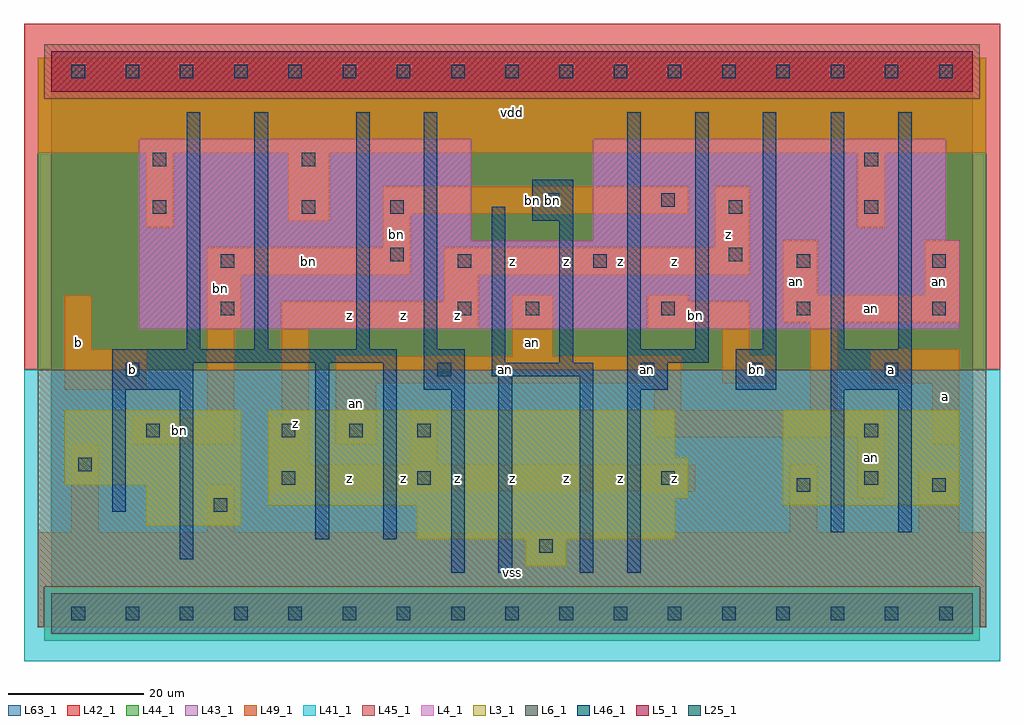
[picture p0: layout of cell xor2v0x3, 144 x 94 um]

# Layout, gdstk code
import gdstk
lib = gdstk.Library(unit=1e-6, precision=1e-09)
def R(c, l, rs):  # rectangles x0, y0, x1, y1
    for r in rs: c.add(gdstk.rectangle(r[:2], r[2:], *l))
def A(c, l, x, y, w, h, nx, ny, dx, dy):  # array of equal rectangles
    R(c, l, [(x+i*dx, y+j*dy, x+i*dx+w, y+j*dy+h) for i in range(nx) for j in range(ny)])
L3_1 = (3, 1)
L4_1 = (4, 1)
L5_1 = (5, 1)
L6_1 = (6, 1)
L25_1 = (25, 1)
L41_1 = (41, 1)
L42_1 = (42, 1)
L43_1 = (43, 1)
L44_1 = (44, 1)
L45_1 = (45, 1)
L46_1 = (46, 1)
L49_1 = (49, 1)
L63_1 = (63, 1)

xor2v0x3 = lib.new_cell('xor2v0x3')
R(xor2v0x3, L3_1, [(70,7,76,11), (54,11,92,16), (14,13,28,19), (32,16,92,17), (108,16,134,30), (32,17,94,23), (2,19,28,30), (32,23,92,30)])
R(xor2v0x3, L4_1, [(13,42,134,55), (13,55,62,70), (80,55,132,70)])
R(xor2v0x3, L5_1, [(0,77,136,83)])
R(xor2v0x3, L6_1, [(0,-3,136,3), (0,-3,136,3)])
A(xor2v0x3, L25_1, 3, -1, 2, 2, 17, 2, 8, 80)
A(xor2v0x3, L25_1, 34, 26, 2, 2, 3, 1, 10, 0)
A(xor2v0x3, L25_1, 70, 44, 2, 2, 4, 1, 20, 0)
R(xor2v0x3, L25_1, [(72,9,74,11), (24,15,26,17), (110,18,112,20), (130,18,132,20), (34,19,36,21), (54,19,56,21), (90,19,92,21), (120,19,122,21), (4,21,6,23), (14,26,16,28), (120,26,122,28), (11,35,13,37), (57,35,59,37), (87,35,89,37), (103,35,105,37), (123,35,125,37), (25,44,27,46), (60,44,62,46), (25,51,27,53), (60,51,62,53), (80,51,82,53), (110,51,112,53), (130,51,132,53), (50,52,52,54), (100,52,102,54), (15,59,17,61), (37,59,39,61), (50,59,52,61), (100,59,102,61), (120,59,122,61), (73,60,75,62), (90,60,92,62), (15,66,17,68), (37,66,39,68), (120,66,122,68)])
R(xor2v0x3, L41_1, [(-4,-7,140,36)])
R(xor2v0x3, L42_1, [(-4,36,140,87)])
R(xor2v0x3, L43_1, [(0,-3,136,3), (70,7,76,11), (54,11,92,16), (14,13,28,19), (32,16,92,17), (108,16,134,30), (32,17,94,23), (2,19,28,30), (32,23,92,30), (13,42,134,55), (13,55,62,70), (80,55,132,70), (0,77,136,83)])
R(xor2v0x3, L44_1, [(-1,-4,137,4), (-2,36,138,76), (-2,76,-1,82), (137,76,138,82)])
R(xor2v0x3, L45_1, [(-2,-2,-1,4), (137,-2,138,4), (-2,4,138,36), (-1,76,137,84)])
A(xor2v0x3, L46_1, 85, 39, 2, 35, 5, 1, 10, 0)
R(xor2v0x3, L46_1, [(59,6,61,33), (66,6,68,35), (78,6,80,35), (85,6,87,33), (19,8,21,33), (39,11,41,37), (49,11,51,37), (115,12,117,33), (125,12,127,33), (9,15,11,33), (9,33,21,37), (55,33,61,39), (85,33,91,37), (101,33,107,39), (115,33,127,39), (65,35,80,37), (9,37,51,39), (65,37,67,60), (75,37,77,58), (85,37,97,39), (20,39,22,74), (30,39,32,74), (45,39,47,74), (55,39,57,74), (71,58,77,64)])
R(xor2v0x3, L49_1, [(-2,-2,138,12), (3,12,7,25), (23,12,27,19), (109,12,113,22), (128,12,134,21), (119,17,123,26), (32,18,95,22), (32,22,38,29), (53,22,57,30), (12,25,27,29), (42,25,48,34), (130,25,134,34), (89,26,123,30), (23,29,27,42), (34,29,38,42), (89,30,93,34), (112,30,116,43), (2,33,14,39), (42,34,93,38), (99,34,107,38), (121,34,134,39), (68,38,74,47), (99,38,103,42), (2,39,6,47), (23,42,28,50), (34,42,63,46), (88,42,103,46), (108,43,134,47), (58,46,63,50), (88,46,94,47), (108,47,113,55), (129,47,134,55), (23,50,53,54), (58,50,103,54), (49,54,53,59), (98,54,103,63), (14,57,18,68), (119,57,123,68), (35,58,41,68), (49,59,94,63), (-2,68,138,82)])
R(xor2v0x3, L63_1, [(0,0,136,80)])
xor2v0x3.add(gdstk.Label('an', (88,36), layer=49, texttype=1))
xor2v0x3.add(gdstk.Label('bn', (74,61), layer=49, texttype=1))
xor2v0x3.add(gdstk.Label('bn', (104,36), layer=49, texttype=1))
xor2v0x3.add(gdstk.Label('b', (4,40), layer=49, texttype=1))
xor2v0x3.add(gdstk.Label('b', (12,36), layer=49, texttype=1))
xor2v0x3.add(gdstk.Label('bn', (19,27), layer=49, texttype=1))
xor2v0x3.add(gdstk.Label('z', (36,28), layer=49, texttype=1))
xor2v0x3.add(gdstk.Label('z', (44,20), layer=49, texttype=1))
xor2v0x3.add(gdstk.Label('an', (45,31), layer=49, texttype=1))
xor2v0x3.add(gdstk.Label('z', (44,44), layer=49, texttype=1))
xor2v0x3.add(gdstk.Label('bn', (51,56), layer=49, texttype=1))
xor2v0x3.add(gdstk.Label('bn', (38,52), layer=49, texttype=1))
xor2v0x3.add(gdstk.Label('bn', (25,48), layer=49, texttype=1))
xor2v0x3.add(gdstk.Label('vss', (68,6), layer=49, texttype=1))
xor2v0x3.add(gdstk.Label('z', (52,20), layer=49, texttype=1))
xor2v0x3.add(gdstk.Label('z', (76,20), layer=49, texttype=1))
xor2v0x3.add(gdstk.Label('z', (68,20), layer=49, texttype=1))
xor2v0x3.add(gdstk.Label('z', (60,20), layer=49, texttype=1))
xor2v0x3.add(gdstk.Label('z', (52,44), layer=49, texttype=1))
xor2v0x3.add(gdstk.Label('an', (71,40), layer=49, texttype=1))
xor2v0x3.add(gdstk.Label('z', (60,44), layer=49, texttype=1))
xor2v0x3.add(gdstk.Label('z', (76,52), layer=49, texttype=1))
xor2v0x3.add(gdstk.Label('z', (68,52), layer=49, texttype=1))
xor2v0x3.add(gdstk.Label('vdd', (68,74), layer=49, texttype=1))
xor2v0x3.add(gdstk.Label('z', (84,20), layer=49, texttype=1))
xor2v0x3.add(gdstk.Label('z', (92,20), layer=49, texttype=1))
xor2v0x3.add(gdstk.Label('an', (67,36), layer=49, texttype=1))
xor2v0x3.add(gdstk.Label('bn', (95,44), layer=49, texttype=1))
xor2v0x3.add(gdstk.Label('bn', (103,36), layer=49, texttype=1))
xor2v0x3.add(gdstk.Label('z', (92,52), layer=49, texttype=1))
xor2v0x3.add(gdstk.Label('z', (84,52), layer=49, texttype=1))
xor2v0x3.add(gdstk.Label('bn', (71,61), layer=49, texttype=1))
xor2v0x3.add(gdstk.Label('z', (100,56), layer=49, texttype=1))
xor2v0x3.add(gdstk.Label('an', (121,23), layer=49, texttype=1))
xor2v0x3.add(gdstk.Label('a', (132,32), layer=49, texttype=1))
xor2v0x3.add(gdstk.Label('an', (121,45), layer=49, texttype=1))
xor2v0x3.add(gdstk.Label('a', (124,36), layer=49, texttype=1))
xor2v0x3.add(gdstk.Label('an', (131,49), layer=49, texttype=1))
xor2v0x3.add(gdstk.Label('an', (110,49), layer=49, texttype=1))

lib.write_gds('xor2v0x3.gds')
